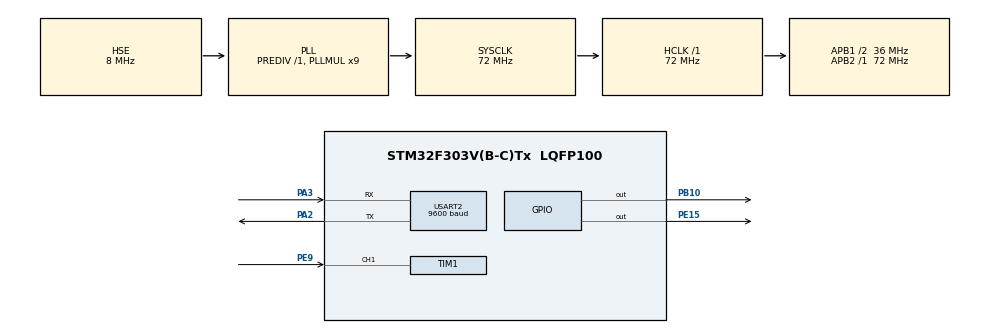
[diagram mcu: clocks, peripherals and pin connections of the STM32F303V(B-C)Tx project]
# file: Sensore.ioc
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Mcu.Family=STM32F3
Mcu.Name=STM32F303V(B-C)Tx
Mcu.Package=LQFP100
NVIC.PriorityGroup=NVIC_PRIORITYGROUP_4
NVIC.TIM1_CC_IRQn=true\:0\:0\:false\:false\:true\:true\:true\:true
PA13.Mode=Serial_Wire
PA13.Signal=SYS_JTMS-SWDIO
PA14.Mode=Serial_Wire
PA14.Signal=SYS_JTCK-SWCLK
PA2.Mode=Asynchronous
PA2.Signal=USART2_TX
PA3.Mode=Asynchronous
PA3.Signal=USART2_RX
PB10.Signal=GPIO_Output
PE15.Signal=GPIO_Output
PE9.Signal=S_TIM1_CH1
PF0-OSC_IN.Mode=HSE-External-Oscillator
PF0-OSC_IN.Signal=RCC_OSC_IN
PF1-OSC_OUT.Mode=HSE-External-Oscillator
PF1-OSC_OUT.Signal=RCC_OSC_OUT
ProjectManager.HeapSize=0x200
ProjectManager.StackSize=0x400
ProjectManager.TargetToolchain=STM32CubeIDE
RCC.AHBFreq_Value=72000000
RCC.APB1CLKDivider=RCC_HCLK_DIV2
RCC.APB1Freq_Value=36000000
RCC.APB1TimFreq_Value=72000000
RCC.APB2Freq_Value=72000000
RCC.APB2TimFreq_Value=72000000
RCC.CortexFreq_Value=72000000
RCC.HCLKFreq_Value=72000000
RCC.HSE_VALUE=8000000
RCC.HSI_VALUE=8000000
RCC.LSE_VALUE=32768
RCC.PLLMUL=RCC_PLL_MUL9
RCC.PLLSourceVirtual=RCC_PLLSOURCE_HSE
RCC.SYSCLKFreq_VALUE=72000000
RCC.SYSCLKSourceVirtual=RCC_SYSCLKSOURCE_PLLCLK
RCC.USBFreq_Value=72000000
SH.S_TIM1_CH1.0=TIM1_CH1,Input_Capture1_from_TI1
TIM1.Channel-Input_Capture1_from_TI1=TIM_CHANNEL_1
TIM1.Prescaler=72-1
USART2.BaudRate=9600
USART2.VirtualMode-Asynchronous=VM_ASYNC
board=custom

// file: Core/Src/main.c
/* USER CODE BEGIN Header */
/**
  ******************************************************************************
  * @file           : main.c
  * @brief          : Main program body
  ******************************************************************************
  * @attention
  *
  * Copyright (c) 2023 STMicroelectronics.
  * All rights reserved.
  *
  * This software is licensed under terms that can be found in the LICENSE file
  * in the root directory of this software component.
  * If no LICENSE file comes with this software, it is provided AS-IS.
  *
  ******************************************************************************
  */
/* USER CODE END Header */
#include "main.h"

/* USER CODE BEGIN Includes */
#include "stm32f3xx.h" // libreria del microcontrollore
#include "string.h"
#include "stdbool.h"
/* USER CODE END Includes */

TIM_HandleTypeDef htim1;

UART_HandleTypeDef huart2;

void SystemClock_Config(void);
static void MX_GPIO_Init(void);
static void MX_TIM1_Init(void);
static void MX_USART2_UART_Init(void);

/* USER CODE BEGIN 0 */
  uint32_t IC_Val1 = 0;
  uint32_t IC_Val2 = 0;
  uint32_t Difference = 0;
  bool Is_First_Captured = false;
  uint8_t Distance = 0;

void HAL_TIM_IC_CaptureCallback(TIM_HandleTypeDef *htim){
	if(htim -> Channel == HAL_TIM_ACTIVE_CHANNEL_1){
		if(!Is_First_Captured){
			IC_Val1 = HAL_TIM_ReadCapturedValue(htim, TIM_CHANNEL_1);
			Is_First_Captured = true;
			__HAL_TIM_SET_CAPTUREPOLARITY(htim, TIM_CHANNEL_1, TIM_INPUTCHANNELPOLARITY_FALLING);
		}

		else if(Is_First_Captured){
			IC_Val2 = HAL_TIM_ReadCapturedValue(htim, TIM_CHANNEL_1);
			__HAL_TIM_SET_COUNTER(htim, 0);

			if(IC_Val2 > IC_Val1){
				Difference = IC_Val2 - IC_Val1;
			}
			else{
				Difference = (0xffff - IC_Val1) + IC_Val2;
			}

			Distance = Difference*.034/2;
			Is_First_Captured = false;

			__HAL_TIM_SET_CAPTUREPOLARITY(htim, TIM_CHANNEL_1, TIM_INPUTCHANNELPOLARITY_RISING);
			__HAL_TIM_DISABLE_IT(htim, TIM_IT_CC1);
		}
	}
}

void HCSR04_Read(TIM_HandleTypeDef *htim){
	HAL_GPIO_WritePin(GPIOB, GPIO_PIN_10, GPIO_PIN_SET); //alimento il segnale verso il trigger del sensore
	HAL_Delay(10);
	HAL_GPIO_WritePin(GPIOB, GPIO_PIN_10, GPIO_PIN_RESET);
	__HAL_TIM_ENABLE_IT(htim, TIM_IT_CC1);
}

/* USER CODE END 0 */

int main(void)
{

  /* MCU Configuration--------------------------------------------------------*/

  /* Reset of all peripherals, Initializes the Flash interface and the Systick. */
  HAL_Init();

  /* Configure the system clock */
  SystemClock_Config();

  /* Initialize all configured peripherals */
  MX_GPIO_Init();
  MX_TIM1_Init();
  MX_USART2_UART_Init();
  /* USER CODE BEGIN 2 */
  HAL_TIM_IC_Start_IT(&htim1, TIM_CHANNEL_1);
  HAL_UART_Transmit(&huart2, "Brav o scem\n\r", 19, 0xFFFF);

  /* USER CODE END 2 */

  /* Infinite loop */
  while (1)
  {

    /* USER CODE BEGIN 3 */
	  HCSR04_Read(&htim1);
      HAL_Delay(500);
      char msg[100] = {'\0'};
      sprintf(&msg, "Distance: %dcm\r\n", Distance);
      HAL_UART_Transmit(&huart2, (uint8_t*)&msg, strlen(msg), 0xFFFF);

      if(Distance < 20){
    	  HAL_GPIO_WritePin(GPIOE, GPIO_PIN_15, GPIO_PIN_SET);
      } else {
    	  HAL_GPIO_WritePin(GPIOE, GPIO_PIN_15, GPIO_PIN_RESET);
      }

  }
  /* USER CODE END 3 */
}

void SystemClock_Config(void)
{
  RCC_OscInitTypeDef RCC_OscInitStruct = {0};
  RCC_ClkInitTypeDef RCC_ClkInitStruct = {0};
  RCC_PeriphCLKInitTypeDef PeriphClkInit = {0};

  /** Initializes the RCC Oscillators according to the specified parameters
  * in the RCC_OscInitTypeDef structure.
  */
  RCC_OscInitStruct.OscillatorType = RCC_OSCILLATORTYPE_HSE;
  RCC_OscInitStruct.HSEState = RCC_HSE_ON;
  RCC_OscInitStruct.HSEPredivValue = RCC_HSE_PREDIV_DIV1;
  RCC_OscInitStruct.HSIState = RCC_HSI_ON;
  RCC_OscInitStruct.PLL.PLLState = RCC_PLL_ON;
  RCC_OscInitStruct.PLL.PLLSource = RCC_PLLSOURCE_HSE;
  RCC_OscInitStruct.PLL.PLLMUL = RCC_PLL_MUL9;
  if (HAL_RCC_OscConfig(&RCC_OscInitStruct) != HAL_OK)
  {
    Error_Handler();
  }

  /** Initializes the CPU, AHB and APB buses clocks
  */
  RCC_ClkInitStruct.ClockType = RCC_CLOCKTYPE_HCLK|RCC_CLOCKTYPE_SYSCLK
                              |RCC_CLOCKTYPE_PCLK1|RCC_CLOCKTYPE_PCLK2;
  RCC_ClkInitStruct.SYSCLKSource = RCC_SYSCLKSOURCE_PLLCLK;
  RCC_ClkInitStruct.AHBCLKDivider = RCC_SYSCLK_DIV1;
  RCC_ClkInitStruct.APB1CLKDivider = RCC_HCLK_DIV2;
  RCC_ClkInitStruct.APB2CLKDivider = RCC_HCLK_DIV1;

  if (HAL_RCC_ClockConfig(&RCC_ClkInitStruct, FLASH_LATENCY_2) != HAL_OK)
  {
    Error_Handler();
  }
  PeriphClkInit.PeriphClockSelection = RCC_PERIPHCLK_USART2|RCC_PERIPHCLK_TIM1;
  PeriphClkInit.Usart2ClockSelection = RCC_USART2CLKSOURCE_PCLK1;
  PeriphClkInit.Tim1ClockSelection = RCC_TIM1CLK_HCLK;
  if (HAL_RCCEx_PeriphCLKConfig(&PeriphClkInit) != HAL_OK)
  {
    Error_Handler();
  }
}

static void MX_TIM1_Init(void)
{

  TIM_MasterConfigTypeDef sMasterConfig = {0};
  TIM_IC_InitTypeDef sConfigIC = {0};

  htim1.Instance = TIM1;
  htim1.Init.Prescaler = 72-1;
  htim1.Init.CounterMode = TIM_COUNTERMODE_UP;
  htim1.Init.Period = 65535;
  htim1.Init.ClockDivision = TIM_CLOCKDIVISION_DIV1;
  htim1.Init.RepetitionCounter = 0;
  htim1.Init.AutoReloadPreload = TIM_AUTORELOAD_PRELOAD_DISABLE;
  if (HAL_TIM_IC_Init(&htim1) != HAL_OK)
  {
    Error_Handler();
  }
  sMasterConfig.MasterOutputTrigger = TIM_TRGO_RESET;
  sMasterConfig.MasterOutputTrigger2 = TIM_TRGO2_RESET;
  sMasterConfig.MasterSlaveMode = TIM_MASTERSLAVEMODE_DISABLE;
  if (HAL_TIMEx_MasterConfigSynchronization(&htim1, &sMasterConfig) != HAL_OK)
  {
    Error_Handler();
  }
  sConfigIC.ICPolarity = TIM_INPUTCHANNELPOLARITY_RISING;
  sConfigIC.ICSelection = TIM_ICSELECTION_DIRECTTI;
  sConfigIC.ICPrescaler = TIM_ICPSC_DIV1;
  sConfigIC.ICFilter = 0;
  if (HAL_TIM_IC_ConfigChannel(&htim1, &sConfigIC, TIM_CHANNEL_1) != HAL_OK)
  {
    Error_Handler();
  }

}

static void MX_USART2_UART_Init(void)
{

  huart2.Instance = USART2;
  huart2.Init.BaudRate = 9600;
  huart2.Init.WordLength = UART_WORDLENGTH_8B;
  huart2.Init.StopBits = UART_STOPBITS_1;
  huart2.Init.Parity = UART_PARITY_NONE;
  huart2.Init.Mode = UART_MODE_TX_RX;
  huart2.Init.HwFlowCtl = UART_HWCONTROL_NONE;
  huart2.Init.OverSampling = UART_OVERSAMPLING_16;
  huart2.Init.OneBitSampling = UART_ONE_BIT_SAMPLE_DISABLE;
  huart2.AdvancedInit.AdvFeatureInit = UART_ADVFEATURE_NO_INIT;
  if (HAL_UART_Init(&huart2) != HAL_OK)
  {
    Error_Handler();
  }

}

static void MX_GPIO_Init(void)
{
  GPIO_InitTypeDef GPIO_InitStruct = {0};

  /* GPIO Ports Clock Enable */
  __HAL_RCC_GPIOF_CLK_ENABLE();
  __HAL_RCC_GPIOA_CLK_ENABLE();
  __HAL_RCC_GPIOE_CLK_ENABLE();
  __HAL_RCC_GPIOB_CLK_ENABLE();

  /*Configure GPIO pin Output Level */
  HAL_GPIO_WritePin(GPIOE, GPIO_PIN_15, GPIO_PIN_RESET);

  /*Configure GPIO pin Output Level */
  HAL_GPIO_WritePin(GPIOB, GPIO_PIN_10, GPIO_PIN_RESET);

  /*Configure GPIO pin : PE15 */
  GPIO_InitStruct.Pin = GPIO_PIN_15;
  GPIO_InitStruct.Mode = GPIO_MODE_OUTPUT_PP;
  GPIO_InitStruct.Pull = GPIO_NOPULL;
  GPIO_InitStruct.Speed = GPIO_SPEED_FREQ_LOW;
  HAL_GPIO_Init(GPIOE, &GPIO_InitStruct);

  /*Configure GPIO pin : PB10 */
  GPIO_InitStruct.Pin = GPIO_PIN_10;
  GPIO_InitStruct.Mode = GPIO_MODE_OUTPUT_PP;
  GPIO_InitStruct.Pull = GPIO_NOPULL;
  GPIO_InitStruct.Speed = GPIO_SPEED_FREQ_LOW;
  HAL_GPIO_Init(GPIOB, &GPIO_InitStruct);

}

void Error_Handler(void)
{
  __disable_irq();
  while (1)
  {
  }
}
